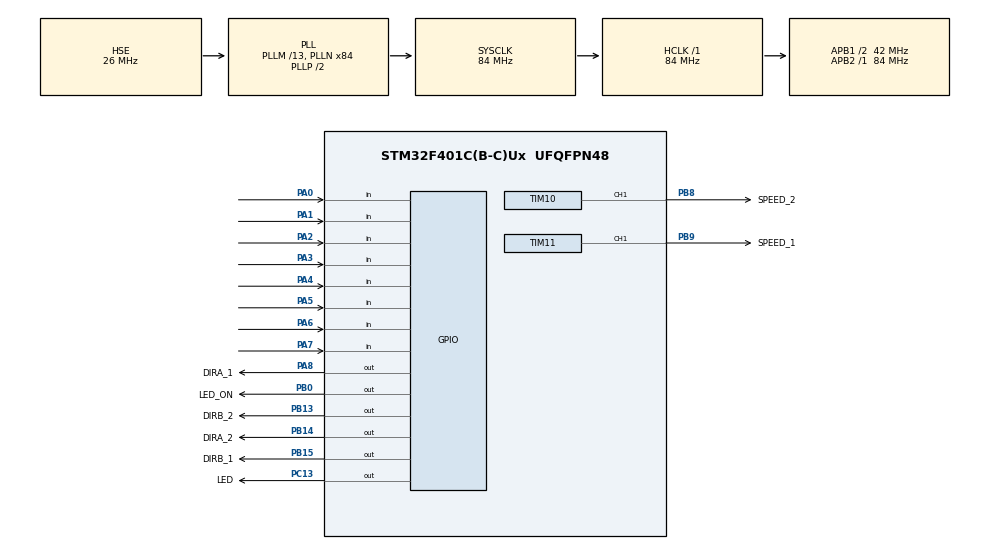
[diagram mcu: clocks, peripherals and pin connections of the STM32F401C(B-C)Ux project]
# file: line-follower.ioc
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Mcu.Family=STM32F4
Mcu.Name=STM32F401C(B-C)Ux
Mcu.Package=UFQFPN48
NVIC.PriorityGroup=NVIC_PRIORITYGROUP_4
PA0-WKUP.Signal=GPIO_Input
PA1.Signal=GPIO_Input
PA2.Signal=GPIO_Input
PA3.Signal=GPIO_Input
PA4.Signal=GPIO_Input
PA5.Signal=GPIO_Input
PA6.Signal=GPIO_Input
PA7.Signal=GPIO_Input
PA8.GPIO_Label=DIRA_1
PA8.Signal=GPIO_Output
PB0.GPIO_Label=LED_ON
PB0.Signal=GPIO_Output
PB13.GPIO_Label=DIRB_2
PB13.Signal=GPIO_Output
PB14.GPIO_Label=DIRA_2
PB14.Signal=GPIO_Output
PB15.GPIO_Label=DIRB_1
PB15.Signal=GPIO_Output
PB8.GPIO_Label=SPEED_2
PB8.Signal=S_TIM10_CH1
PB9.GPIO_Label=SPEED_1
PB9.Signal=S_TIM11_CH1
PC13-ANTI_TAMP.GPIO_Label=LED
PC13-ANTI_TAMP.Signal=GPIO_Output
PC14-OSC32_IN.Mode=LSE-External-Oscillator
PC14-OSC32_IN.Signal=RCC_OSC32_IN
PC15-OSC32_OUT.Mode=LSE-External-Oscillator
PC15-OSC32_OUT.Signal=RCC_OSC32_OUT
PH0\ -\ OSC_IN.Mode=HSE-External-Oscillator
PH0\ -\ OSC_IN.Signal=RCC_OSC_IN
PH1\ -\ OSC_OUT.Mode=HSE-External-Oscillator
PH1\ -\ OSC_OUT.Signal=RCC_OSC_OUT
ProjectManager.HeapSize=0x200
ProjectManager.StackSize=0x400
ProjectManager.TargetToolchain=STM32CubeIDE
RCC.48MHZClocksFreq_Value=33600000
RCC.AHBFreq_Value=84000000
RCC.APB1CLKDivider=RCC_HCLK_DIV2
RCC.APB1Freq_Value=42000000
RCC.APB1TimFreq_Value=84000000
RCC.APB2Freq_Value=84000000
RCC.APB2TimFreq_Value=84000000
RCC.CortexFreq_Value=84000000
RCC.HCLKFreq_Value=84000000
RCC.HSE_VALUE=26000000
RCC.HSI_VALUE=16000000
RCC.PLLM=13
RCC.PLLN=84
RCC.PLLQ=5
RCC.PLLSourceVirtual=RCC_PLLSOURCE_HSE
RCC.SYSCLKFreq_VALUE=84000000
RCC.SYSCLKSource=RCC_SYSCLKSOURCE_PLLCLK
RCC.VCOOutputFreq_Value=168000000
SH.S_TIM10_CH1.0=TIM10_CH1,PWM Generation1 CH1
SH.S_TIM11_CH1.0=TIM11_CH1,PWM Generation1 CH1
TIM10.Channel=TIM_CHANNEL_1
TIM10.Period=999
TIM10.Prescaler=83
TIM11.Channel=TIM_CHANNEL_1
TIM11.Period=999
TIM11.Prescaler=83
VP_TIM10_VS_ClockSourceINT.Mode=Enable_Timer
VP_TIM11_VS_ClockSourceINT.Mode=Enable_Timer
board=custom

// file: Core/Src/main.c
/* USER CODE BEGIN Header */
/**
  ******************************************************************************
  * @file           : main.c
  * @brief          : Main program body
  ******************************************************************************
  * @attention
  *
  * Copyright (c) 2025 STMicroelectronics.
  * All rights reserved.
  *
  * This software is licensed under terms that can be found in the LICENSE file
  * in the root directory of this software component.
  * If no LICENSE file comes with this software, it is provided AS-IS.
  *
  ******************************************************************************
  */
/* USER CODE END Header */
#include "main.h"

/* USER CODE BEGIN PTD */
#define N_SENSORS 8
#define SENSOR_MAX 10
#define SENSOR_MIN 0

#define TIME_THRESHOLD SENSOR_MAX + 5
/* USER CODE END PTD */

TIM_HandleTypeDef htim10;
TIM_HandleTypeDef htim11;

void SystemClock_Config(void);
static void MX_GPIO_Init(void);
static void MX_TIM10_Init(void);
static void MX_TIM11_Init(void);

/* USER CODE BEGIN 0 */
GPIO_InitTypeDef Input = {0};
GPIO_InitTypeDef Output = {0};

int16_t abs(int16_t x) {
	return x < 0 ? -x : x;
}

void setMotorSpeed(int16_t l, int16_t r) {
	if (l > 0) {
		HAL_GPIO_WritePin(DIRA_2_GPIO_Port, DIRA_2_Pin, GPIO_PIN_SET);
		HAL_GPIO_WritePin(DIRB_2_GPIO_Port, DIRB_2_Pin, GPIO_PIN_RESET);
	} else if (l < 0) {
		HAL_GPIO_WritePin(DIRA_2_GPIO_Port, DIRA_2_Pin, GPIO_PIN_RESET);
		HAL_GPIO_WritePin(DIRB_2_GPIO_Port, DIRB_2_Pin, GPIO_PIN_SET);
	} else {
		HAL_GPIO_WritePin(DIRA_2_GPIO_Port, DIRA_2_Pin, GPIO_PIN_SET);
		HAL_GPIO_WritePin(DIRB_2_GPIO_Port, DIRB_2_Pin, GPIO_PIN_SET);
	}
	__HAL_TIM_SET_COMPARE(&htim11, TIM_CHANNEL_1, abs(l));

	if (r > 0) {
		HAL_GPIO_WritePin(DIRA_1_GPIO_Port, DIRA_1_Pin, GPIO_PIN_SET);
		HAL_GPIO_WritePin(DIRB_1_GPIO_Port, DIRB_1_Pin, GPIO_PIN_RESET);
	} else if (r < 0) {
		HAL_GPIO_WritePin(DIRA_1_GPIO_Port, DIRA_1_Pin, GPIO_PIN_RESET);
		HAL_GPIO_WritePin(DIRB_1_GPIO_Port, DIRB_1_Pin, GPIO_PIN_SET);
	} else {
		HAL_GPIO_WritePin(DIRA_1_GPIO_Port, DIRA_1_Pin, GPIO_PIN_SET);
		HAL_GPIO_WritePin(DIRB_1_GPIO_Port, DIRB_1_Pin, GPIO_PIN_SET);
	}
	__HAL_TIM_SET_COMPARE(&htim10, TIM_CHANNEL_1, abs(r));
}

int16_t* readSensor(uint32_t maxTick) {

}

GPIO_TypeDef* pinbanks[N_SENSORS] = {GPIOA, GPIOA, GPIOA, GPIOA, GPIOA, GPIOA, GPIOA, GPIOA};
uint16_t pins[N_SENSORS] = {GPIO_PIN_0, GPIO_PIN_1, GPIO_PIN_2, GPIO_PIN_3, GPIO_PIN_4, GPIO_PIN_5, GPIO_PIN_6, GPIO_PIN_7};
void measure_levels(uint32_t values[N_SENSORS]) {
    for (size_t i = 0; i < N_SENSORS; i++) {
        Output.Pin = pins[i];
        HAL_GPIO_Init(pinbanks[i], &Output);
        HAL_GPIO_WritePin(pinbanks[i], pins[i], GPIO_PIN_SET);
    }
    HAL_Delay(10); // I think this actually can be 1/1000 of that.
    for (size_t i = 0; i < N_SENSORS; i++) {
        Input.Pin = pins[i];
        HAL_GPIO_Init(pinbanks[i], &Input);
    }

    uint8_t any_high = N_SENSORS;
    uint8_t high_pins[N_SENSORS];
    for (size_t i = 0; i < N_SENSORS; i++) {
        high_pins[i] = 1;
    }
    uint32_t start = HAL_GetTick(); // Should we measure this in microseconds?

    while (any_high) {
        if (HAL_GetTick() - start > TIME_THRESHOLD) {
            break;
        }
        for (size_t i = 0; i < N_SENSORS; i++) {
            if (high_pins[i]) {
                if (HAL_GPIO_ReadPin(pinbanks[i], pins[i]) != GPIO_PIN_SET) {
                    any_high--;
                    high_pins[i] = 0;
                    values[i] = HAL_GetTick() - start;
                }
            }
        }
    }
    for (int i = 0;  i < N_SENSORS; i ++) {
    	if (high_pins[i]) {
    		values[i] = SENSOR_MAX;
    	}
    }
}

double get_target_score() {
    return 0.0; // Half of the sensors should look at white, half at black.
}

double get_score(uint32_t values[N_SENSORS]) {
	double sum = values[0] + values[1] + values[2] + values[3] + values[4] + values[5] + values[6] + values[7];
	return ((double)(values[0] * 7 + values[1] * 5 + values[2] * 3 + values[3] * 1 + values[4] * -1 + values[5] * -3 + values[6] * -5 + values[7] * -7)) / sum;
}

typedef enum Motor {
    LEFT,
    RIGHT
} Motor;

void set_motor_speed(uint8_t percentage, Motor motor) {

}

void init_pinconfig() {
    Input.Mode = GPIO_MODE_INPUT;
    Input.Pull = GPIO_NOPULL;

    Output.Mode = GPIO_MODE_OUTPUT_PP;
    Output.Pull = GPIO_NOPULL;
    Output.Speed = GPIO_SPEED_FREQ_LOW;
}

#define MIN_SPEED 10
#define MAX_SPEED 50

uint8_t cap_motor_speed(uint8_t percentage) {
    if (percentage < MIN_SPEED) {
        percentage = MIN_SPEED;
    }

    if (percentage > MAX_SPEED) {
        percentage = MAX_SPEED;
    }

    return percentage;
}

double kp = 2.0;
double ki = 0.1;
double kd = 0.1;

double integral = 0;
double previous_error = 0;
double last_time = 0;

int32_t pid_loop() {
    uint32_t values[N_SENSORS];
    measure_levels(values);
    double score = get_score(values);
    double error = get_target_score() - score;
    double now = HAL_GetTick();
    double dt = now - last_time;
    dt *= 0.001;
    last_time = now;

    double proportional = error;
    integral += error * dt;
    double derivative = (error - previous_error) / dt;
    double output = kp * proportional + ki * integral + kd * derivative;
    previous_error = error;

    return output;
}

int32_t last_left = 50;
int32_t last_right = 50;

void adjust_motors(double score) {
    last_left = cap_motor_speed(last_left + score);
    last_right = cap_motor_speed(last_right - score);
    setMotorSpeed(last_left * 10 - 1, last_right * 10 - 1);
}

/* USER CODE END 0 */

int main(void)
{

  /* USER CODE BEGIN 1 */
	 uint8_t MSG[35] = {'\0'};

	 init_pinconfig();

  /* USER CODE END 1 */

  /* MCU Configuration--------------------------------------------------------*/

  /* Reset of all peripherals, Initializes the Flash interface and the Systick. */
  HAL_Init();

  /* Configure the system clock */
  SystemClock_Config();

  /* Initialize all configured peripherals */
  MX_GPIO_Init();
  MX_TIM10_Init();
  MX_TIM11_Init();
  /* USER CODE BEGIN 2 */

  // Init motors
  HAL_TIM_PWM_Start(&htim10, TIM_CHANNEL_1);
  HAL_TIM_PWM_Start(&htim11, TIM_CHANNEL_1);

  // Init LEDs
  HAL_GPIO_WritePin(LED_ON_GPIO_Port, LED_ON_Pin, GPIO_PIN_SET);

  setMotorSpeed(0, 0);
  HAL_GPIO_WritePin(DIRA_1_GPIO_Port, DIRA_1_Pin, GPIO_PIN_SET);
  HAL_GPIO_WritePin(DIRB_1_GPIO_Port, DIRB_1_Pin, GPIO_PIN_RESET);
  HAL_GPIO_WritePin(DIRA_2_GPIO_Port, DIRA_2_Pin, GPIO_PIN_SET);
  HAL_GPIO_WritePin(DIRB_2_GPIO_Port, DIRB_2_Pin, GPIO_PIN_RESET);
  setMotorSpeed(500, 500);

  HAL_GPIO_WritePin(LED_ON_GPIO_Port, LED_ON_Pin, GPIO_PIN_SET);
  HAL_TIM_PWM_Start(&htim11, TIM_CHANNEL_1);

  last_time = HAL_GetTick();

  /* USER CODE END 2 */

  /* Infinite loop */
  /* USER CODE BEGIN WHILE */
  while (1) {
      double score = pid_loop();
      adjust_motors(score);
       //sprintf(MSG, "score = %d\r\n", score);
       //HAL_UART_Transmit(&huart1, MSG, sizeof(MSG), 100);
       HAL_Delay(2);
   }

//	HAL_GPIO_TogglePin(LED_GPIO_Port, LED_Pin);
//	HAL_GPIO_TogglePin(DIRA_1_GPIO_Port, DIRA_1_Pin);
//	HAL_GPIO_TogglePin(DIRB_1_GPIO_Port, DIRB_1_Pin);
//  HAL_GPIO_TogglePin(DIRA_2_GPIO_Port, DIRA_2_Pin);
//	HAL_GPIO_TogglePin(DIRB_2_GPIO_Port, DIRB_2_Pin);
//	HAL_Delay(1000);
    /* USER CODE END WHILE */

}

void SystemClock_Config(void)
{
  RCC_OscInitTypeDef RCC_OscInitStruct = {0};
  RCC_ClkInitTypeDef RCC_ClkInitStruct = {0};

  /** Configure the main internal regulator output voltage
  */
  __HAL_RCC_PWR_CLK_ENABLE();
  __HAL_PWR_VOLTAGESCALING_CONFIG(PWR_REGULATOR_VOLTAGE_SCALE2);

  /** Initializes the RCC Oscillators according to the specified parameters
  * in the RCC_OscInitTypeDef structure.
  */
  RCC_OscInitStruct.OscillatorType = RCC_OSCILLATORTYPE_HSE;
  RCC_OscInitStruct.HSEState = RCC_HSE_ON;
  RCC_OscInitStruct.PLL.PLLState = RCC_PLL_ON;
  RCC_OscInitStruct.PLL.PLLSource = RCC_PLLSOURCE_HSE;
  RCC_OscInitStruct.PLL.PLLM = 13;
  RCC_OscInitStruct.PLL.PLLN = 84;
  RCC_OscInitStruct.PLL.PLLP = RCC_PLLP_DIV2;
  RCC_OscInitStruct.PLL.PLLQ = 5;
  if (HAL_RCC_OscConfig(&RCC_OscInitStruct) != HAL_OK)
  {
    Error_Handler();
  }

  /** Initializes the CPU, AHB and APB buses clocks
  */
  RCC_ClkInitStruct.ClockType = RCC_CLOCKTYPE_HCLK|RCC_CLOCKTYPE_SYSCLK
                              |RCC_CLOCKTYPE_PCLK1|RCC_CLOCKTYPE_PCLK2;
  RCC_ClkInitStruct.SYSCLKSource = RCC_SYSCLKSOURCE_PLLCLK;
  RCC_ClkInitStruct.AHBCLKDivider = RCC_SYSCLK_DIV1;
  RCC_ClkInitStruct.APB1CLKDivider = RCC_HCLK_DIV2;
  RCC_ClkInitStruct.APB2CLKDivider = RCC_HCLK_DIV1;

  if (HAL_RCC_ClockConfig(&RCC_ClkInitStruct, FLASH_LATENCY_2) != HAL_OK)
  {
    Error_Handler();
  }
}

static void MX_TIM10_Init(void)
{

  TIM_OC_InitTypeDef sConfigOC = {0};

  htim10.Instance = TIM10;
  htim10.Init.Prescaler = 83;
  htim10.Init.CounterMode = TIM_COUNTERMODE_UP;
  htim10.Init.Period = 999;
  htim10.Init.ClockDivision = TIM_CLOCKDIVISION_DIV1;
  htim10.Init.AutoReloadPreload = TIM_AUTORELOAD_PRELOAD_DISABLE;
  if (HAL_TIM_Base_Init(&htim10) != HAL_OK)
  {
    Error_Handler();
  }
  if (HAL_TIM_PWM_Init(&htim10) != HAL_OK)
  {
    Error_Handler();
  }
  sConfigOC.OCMode = TIM_OCMODE_PWM1;
  sConfigOC.Pulse = 0;
  sConfigOC.OCPolarity = TIM_OCPOLARITY_HIGH;
  sConfigOC.OCFastMode = TIM_OCFAST_DISABLE;
  if (HAL_TIM_PWM_ConfigChannel(&htim10, &sConfigOC, TIM_CHANNEL_1) != HAL_OK)
  {
    Error_Handler();
  }
  HAL_TIM_MspPostInit(&htim10);

}

static void MX_TIM11_Init(void)
{

  TIM_OC_InitTypeDef sConfigOC = {0};

  htim11.Instance = TIM11;
  htim11.Init.Prescaler = 83;
  htim11.Init.CounterMode = TIM_COUNTERMODE_UP;
  htim11.Init.Period = 999;
  htim11.Init.ClockDivision = TIM_CLOCKDIVISION_DIV1;
  htim11.Init.AutoReloadPreload = TIM_AUTORELOAD_PRELOAD_DISABLE;
  if (HAL_TIM_Base_Init(&htim11) != HAL_OK)
  {
    Error_Handler();
  }
  if (HAL_TIM_PWM_Init(&htim11) != HAL_OK)
  {
    Error_Handler();
  }
  sConfigOC.OCMode = TIM_OCMODE_PWM1;
  sConfigOC.Pulse = 0;
  sConfigOC.OCPolarity = TIM_OCPOLARITY_HIGH;
  sConfigOC.OCFastMode = TIM_OCFAST_DISABLE;
  if (HAL_TIM_PWM_ConfigChannel(&htim11, &sConfigOC, TIM_CHANNEL_1) != HAL_OK)
  {
    Error_Handler();
  }
  HAL_TIM_MspPostInit(&htim11);

}

static void MX_GPIO_Init(void)
{
  GPIO_InitTypeDef GPIO_InitStruct = {0};

  /* GPIO Ports Clock Enable */
  __HAL_RCC_GPIOC_CLK_ENABLE();
  __HAL_RCC_GPIOH_CLK_ENABLE();
  __HAL_RCC_GPIOA_CLK_ENABLE();
  __HAL_RCC_GPIOB_CLK_ENABLE();

  /*Configure GPIO pin Output Level */
  HAL_GPIO_WritePin(LED_GPIO_Port, LED_Pin, GPIO_PIN_RESET);

  /*Configure GPIO pin Output Level */
  HAL_GPIO_WritePin(GPIOB, LED_ON_Pin|DIRB_2_Pin|DIRA_2_Pin|DIRB_1_Pin, GPIO_PIN_RESET);

  /*Configure GPIO pin Output Level */
  HAL_GPIO_WritePin(DIRA_1_GPIO_Port, DIRA_1_Pin, GPIO_PIN_RESET);

  /*Configure GPIO pin : LED_Pin */
  GPIO_InitStruct.Pin = LED_Pin;
  GPIO_InitStruct.Mode = GPIO_MODE_OUTPUT_PP;
  GPIO_InitStruct.Pull = GPIO_NOPULL;
  GPIO_InitStruct.Speed = GPIO_SPEED_FREQ_LOW;
  HAL_GPIO_Init(LED_GPIO_Port, &GPIO_InitStruct);

  /*Configure GPIO pins : PA0 PA1 PA2 PA3
                           PA4 PA5 PA6 PA7 */
  GPIO_InitStruct.Pin = GPIO_PIN_0|GPIO_PIN_1|GPIO_PIN_2|GPIO_PIN_3
                          |GPIO_PIN_4|GPIO_PIN_5|GPIO_PIN_6|GPIO_PIN_7;
  GPIO_InitStruct.Mode = GPIO_MODE_INPUT;
  GPIO_InitStruct.Pull = GPIO_NOPULL;
  HAL_GPIO_Init(GPIOA, &GPIO_InitStruct);

  /*Configure GPIO pins : LED_ON_Pin DIRB_2_Pin DIRA_2_Pin DIRB_1_Pin */
  GPIO_InitStruct.Pin = LED_ON_Pin|DIRB_2_Pin|DIRA_2_Pin|DIRB_1_Pin;
  GPIO_InitStruct.Mode = GPIO_MODE_OUTPUT_PP;
  GPIO_InitStruct.Pull = GPIO_NOPULL;
  GPIO_InitStruct.Speed = GPIO_SPEED_FREQ_LOW;
  HAL_GPIO_Init(GPIOB, &GPIO_InitStruct);

  /*Configure GPIO pin : DIRA_1_Pin */
  GPIO_InitStruct.Pin = DIRA_1_Pin;
  GPIO_InitStruct.Mode = GPIO_MODE_OUTPUT_PP;
  GPIO_InitStruct.Pull = GPIO_NOPULL;
  GPIO_InitStruct.Speed = GPIO_SPEED_FREQ_LOW;
  HAL_GPIO_Init(DIRA_1_GPIO_Port, &GPIO_InitStruct);

}

void Error_Handler(void)
{
  __disable_irq();
  while (1)
  {
  }
}
